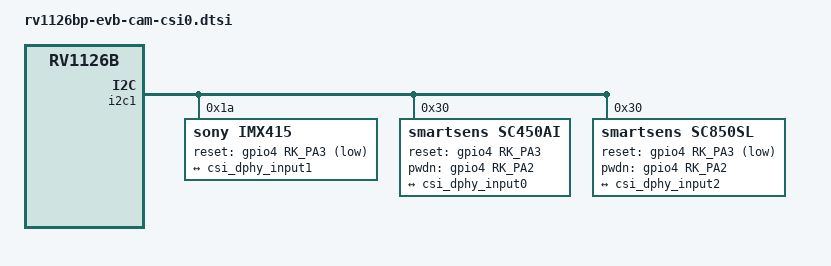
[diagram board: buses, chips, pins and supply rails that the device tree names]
// SPDX-License-Identifier: (GPL-2.0+ OR MIT)
/*
 * Copyright (c) 2025 Rockchip Electronics Co., Ltd.
 *
 */
#include "rv1126b-evb-cam-csi0.dtsi"

&i2c1 {
	status = "okay";
	pinctrl-0 = <&i2c1m2_pins>;

	imx415: imx415@1a {
		compatible = "sony,imx415";
		reg = <0x1a>;
		clocks = <&cru CLK_MIPI0_OUT2IO>;
		clock-names = "xvclk";
		reset-gpios = <&gpio4 RK_PA3 GPIO_ACTIVE_LOW>;
		pinctrl-names = "default";
		pinctrl-0 = <&cam_clk0_pins>;
		rockchip,camera-module-index = <0>;
		rockchip,camera-module-facing = "back";
		rockchip,camera-module-name = "default";
		rockchip,camera-module-lens-name = "default";
		port {
			imx415_out: endpoint {
				remote-endpoint = <&csi_dphy_input1>;
				data-lanes = <1 2 3 4>;
			};
		};
	};

	sc450ai: sc450ai@30 {
		compatible = "smartsens,sc450ai";
		status = "okay";
		reg = <0x30>;
		clocks = <&cru CLK_MIPI0_OUT2IO>;
		clock-names = "xvclk";
		reset-gpios = <&gpio4 RK_PA3 GPIO_ACTIVE_HIGH>;
		pwdn-gpios = <&gpio4 RK_PA2 GPIO_ACTIVE_HIGH>;
		pinctrl-names = "default";
		pinctrl-0 = <&cam_clk0_pins>;
		rockchip,camera-module-index = <0>;
		rockchip,camera-module-facing = "back";
		rockchip,camera-module-name = "default";
		rockchip,camera-module-lens-name = "default";
		port {
			sc450ai_out: endpoint {
				remote-endpoint = <&csi_dphy_input0>;
				data-lanes = <1 2>;
			};
		};
	};

	sc850sl: sc850sl@30 {
		compatible = "smartsens,sc850sl";
		status = "okay";
		reg = <0x30>;
		clocks = <&cru CLK_MIPI0_OUT2IO>;
		clock-names = "xvclk";
		reset-gpios = <&gpio4 RK_PA3 GPIO_ACTIVE_LOW>;
		pwdn-gpios = <&gpio4 RK_PA2 GPIO_ACTIVE_HIGH>;
		pinctrl-names = "default";
		pinctrl-0 = <&cam_clk0_pins>;
		rockchip,camera-module-index = <0>;
		rockchip,camera-module-facing = "back";
		rockchip,camera-module-name = "default";
		rockchip,camera-module-lens-name = "default";
		port {
			sc850sl_out: endpoint {
				remote-endpoint = <&csi_dphy_input2>;
				data-lanes = <1 2 3 4>;
			};
		};
	};
};

&i2c3 {
	status = "disabled";
	/delete-node/ imx415@1a;
	/delete-node/ sc450ai@30;
	/delete-node/ sc850sl@30;
};
